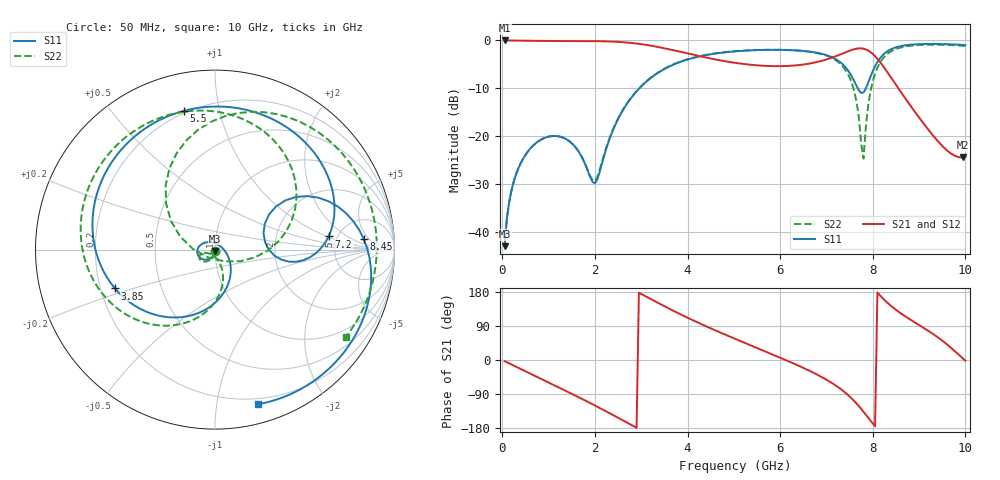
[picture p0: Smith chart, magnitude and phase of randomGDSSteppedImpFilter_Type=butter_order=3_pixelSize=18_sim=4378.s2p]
! freq	dB(S11)	phase(S11)	dB(S12)	phase(S12)
!  dB(S21)	phase(S21)	dB(S22)	phase(S22)
!S-par simulation data
#  GHz  S  DB  R 50
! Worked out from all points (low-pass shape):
!   200 points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, 50 MHz to 10 GHz, reference 50 ohm
!   highest |S21| = 0.00 dB at 50 MHz (marker M1); lowest = -24.5 dB at 9.95 GHz (marker M2)
!   |S21| within 3 dB of the highest: start of sweep to 4.129 GHz; 7.279 GHz to 8.019 GHz (739.7 MHz wide, 9.67 % of centre)
!   lowest |S11| = -43.0 dB at 50 MHz (marker M3), VSWR 1.01, Z = 50 - j0.706 ohm
!   |S11| at or under -10 dB: start of sweep to 2.961 GHz; 7.677 GHz to 7.853 GHz (176.7 MHz wide, 2.28 % of centre)
!   |S22| runs from -43.0 to -0.9 dB; largest |S21 - S12| = 0
!   S11 on the Smith chart (normalised r, x): 50 MHz: 1.00, -0.01; 3.85 GHz: 0.26, -0.17; 5.5 GHz: 0.19, +0.78; 7.2 GHz: 4.24, +1.05; 8.45 GHz: 9, +4; 10 GHz: 0.15, -1.30
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0.05  -43.02 -91.3  -0.00 -3.0  -0.00 -3.0  -43.01 -90.1
0.25  -29.42 -106.5  -0.03 -15.0  -0.03 -15.0  -29.41 -102.9
0.6  -22.65 -130.7  -0.07 -35.7  -0.07 -35.7  -22.64 -121.6
1.25  -20.13 -177.0  -0.13 -74.2  -0.13 -74.2  -20.13 -152.6
1.75  -25.02 131.9  -0.14 -104.5  -0.14 -104.5  -24.98 -161.1
2  -29.86 54.3  -0.15 -120.0  -0.15 -120.0  -29.38 -114.9
2.65  -13.88 -68.3  -0.40 -162.3  -0.40 -162.3  -13.77 -78.7
3.4  -6.55 -127.5  -1.44 148.3  -1.44 148.3  -6.48 -117.6
3.85  -4.47 -158.8  -2.39 120.4  -2.39 120.4  -4.40 -141.5
4.45  -2.98 163.0  -3.68 86.3  -3.68 86.3  -2.92 -171.1
5.05  -2.27 127.8  -4.72 54.7  -4.72 54.7  -2.22 161.6
5.5  -2.02 102.5  -5.21 31.8  -5.21 31.8  -1.99 141.5
6.7  -2.42 36.0  -4.72 -32.5  -4.72 -32.5  -2.46 81.9
7.2  -3.91 6.6  -3.31 -67.2  -3.31 -67.2  -4.13 46.6
7.6  -8.51 -8.7  -1.83 -108.3  -1.83 -108.3  -10.59 -0.9
7.8  -10.89 18.8  -1.73 -136.6  -1.73 -136.6  -24.72 -132.4
8  -6.41 35.0  -2.82 -167.5  -2.82 -167.5  -8.52 136.7
8.35  -2.07 11.4  -7.13 147.3  -7.13 147.3  -2.56 85.8
8.45  -1.61 4.2  -8.55 137.2  -8.55 137.2  -2.00 75.1
9.15  -0.74 -35.8  -18.05 80.8  -18.05 80.8  -0.91 19.8
9.95  -0.94 -72.3  -24.45 3.6  -24.45 3.6  -1.11 -30.7
10  -0.98 -74.6  -24.38 -1.9  -24.38 -1.9  -1.15 -33.9
